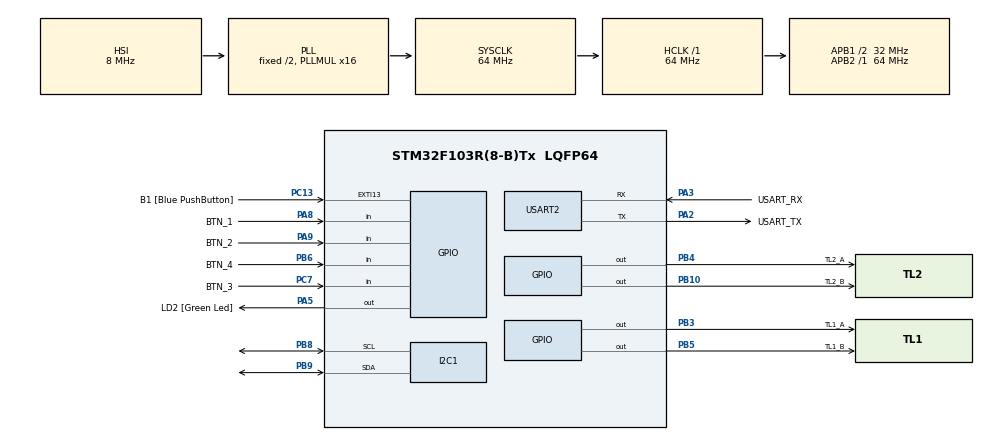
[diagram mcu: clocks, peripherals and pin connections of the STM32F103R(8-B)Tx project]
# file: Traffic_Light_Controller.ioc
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Mcu.Family=STM32F1
Mcu.Name=STM32F103R(8-B)Tx
Mcu.Package=LQFP64
NVIC.EXTI15_10_IRQn=true\:0\:0\:false\:false\:true\:true\:true\:true
NVIC.PriorityGroup=NVIC_PRIORITYGROUP_4
NVIC.TIM2_IRQn=true\:0\:0\:false\:false\:true\:true\:true\:true
PA13.GPIO_Label=TMS
PA13.Mode=Serial_Wire
PA13.Signal=SYS_JTMS-SWDIO
PA14.GPIO_Label=TCK
PA14.Mode=Serial_Wire
PA14.Signal=SYS_JTCK-SWCLK
PA2.GPIO_Label=USART_TX
PA2.GPIO_Mode=GPIO_MODE_AF_PP
PA2.GPIO_PuPd=GPIO_NOPULL
PA2.GPIO_Speed=GPIO_SPEED_FREQ_LOW
PA2.Mode=Asynchronous
PA2.Signal=USART2_TX
PA3.GPIO_Label=USART_RX
PA3.GPIO_Mode=GPIO_MODE_AF_PP
PA3.GPIO_PuPd=GPIO_NOPULL
PA3.GPIO_Speed=GPIO_SPEED_FREQ_LOW
PA3.Mode=Asynchronous
PA3.Signal=USART2_RX
PA5.GPIO_Label=LD2 [Green Led]
PA5.GPIO_ModeDefaultOutputPP=GPIO_MODE_OUTPUT_PP
PA5.GPIO_PuPd=GPIO_NOPULL
PA5.GPIO_Speed=GPIO_SPEED_FREQ_LOW
PA5.Signal=GPIO_Output
PA8.GPIO_Label=BTN_1
PA8.Signal=GPIO_Input
PA9.GPIO_Label=BTN_2
PA9.Signal=GPIO_Input
PB10.GPIO_Label=TL2_B
PB10.Signal=GPIO_Output
PB3.GPIO_Label=TL1_A
PB3.Signal=GPIO_Output
PB4.GPIO_Label=TL2_A
PB4.Signal=GPIO_Output
PB5.GPIO_Label=TL1_B
PB5.Signal=GPIO_Output
PB6.GPIO_Label=BTN_4
PB6.Signal=GPIO_Input
PB8.Mode=I2C
PB8.Signal=I2C1_SCL
PB9.Mode=I2C
PB9.Signal=I2C1_SDA
PC13-TAMPER-RTC.GPIO_Label=B1 [Blue PushButton]
PC13-TAMPER-RTC.GPIO_PuPd=GPIO_NOPULL
PC13-TAMPER-RTC.Signal=GPXTI13
PC14-OSC32_IN.Mode=LSE-External-Oscillator
PC14-OSC32_IN.Signal=RCC_OSC32_IN
PC15-OSC32_OUT.Mode=LSE-External-Oscillator
PC15-OSC32_OUT.Signal=RCC_OSC32_OUT
PC7.GPIO_Label=BTN_3
PC7.Signal=GPIO_Input
PD0-OSC_IN.Mode=HSE-External-Clock-Source
PD0-OSC_IN.Signal=RCC_OSC_IN
PD1-OSC_OUT.Mode=HSE-External-Clock-Source
PD1-OSC_OUT.Signal=RCC_OSC_OUT
ProjectManager.HeapSize=0x200
ProjectManager.StackSize=0x400
ProjectManager.TargetToolchain=CMake
RCC.AHBFreq_Value=64000000
RCC.APB1CLKDivider=RCC_HCLK_DIV2
RCC.APB1Freq_Value=32000000
RCC.APB1TimFreq_Value=64000000
RCC.APB2Freq_Value=64000000
RCC.APB2TimFreq_Value=64000000
RCC.HCLKFreq_Value=64000000
RCC.PLLMUL=RCC_PLL_MUL16
RCC.RTCClockSelection=RCC_RTCCLKSOURCE_LSE
RCC.SYSCLKFreq_VALUE=64000000
RCC.SYSCLKSource=RCC_SYSCLKSOURCE_PLLCLK
RCC.USBFreq_Value=64000000
TIM2.Period=99
TIM2.Prescaler=6399
USART2.VirtualMode=VM_ASYNC
VP_TIM2_VS_ClockSourceINT.Mode=Internal
board=NUCLEO-F103RB

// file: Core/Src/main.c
/* USER CODE BEGIN Header */
/**
  ******************************************************************************
  * @file           : main.c
  * @brief          : Main program body
  ******************************************************************************
  * @attention
  *
  * Copyright (c) 2026 STMicroelectronics.
  * All rights reserved.
  *
  * This software is licensed under terms that can be found in the LICENSE file
  * in the root directory of this software component.
  * If no LICENSE file comes with this software, it is provided AS-IS.
  *
  ******************************************************************************
  */
/* USER CODE END Header */
#include "main.h"

/* USER CODE BEGIN Includes */
#include "scheduler.h"
#include "software_timer.h"
#include "button.h"
#include "traffic_light.h"
#include "global.h"
#include "dht20.h"
#include "lcd.h"
#include "display.h"
#include "fsm_mode.h"
#include "fsm_automatic.h"
/* USER CODE END Includes */

I2C_HandleTypeDef hi2c1;

TIM_HandleTypeDef htim2;

UART_HandleTypeDef huart2;

void SystemClock_Config(void);
static void MX_GPIO_Init(void);
static void MX_I2C1_Init(void);
static void MX_TIM2_Init(void);
static void MX_USART2_UART_Init(void);

int main(void)
{

  /* MCU Configuration--------------------------------------------------------*/

  /* Reset of all peripherals, Initializes the Flash interface and the Systick. */
  HAL_Init();

  /* Configure the system clock */
  SystemClock_Config();

  /* Initialize all configured peripherals */
  MX_GPIO_Init();
  MX_I2C1_Init();
  MX_TIM2_Init();
  MX_USART2_UART_Init();

  /* USER CODE BEGIN 2 */
  // Private init
  SCH_Init();
  timer_init();
  button_init();
  fsm_automatic_init();

  SCH_Add_Task(timerRun, 1, 1);
  HAL_TIM_Base_Start_IT(&htim2);
  // khởi tạo các module (global trước fsm_mode, lcd trước fsm_mode)
  global_init();
  traffic_init();
  dht20_init(&hi2c1);
  lcd_init(&hi2c1);
  fsm_mode_init();

  // đăng ký task (tick 10 ms)
  SCH_Add_Task(button_run, 0, 1);        // quét và lọc nhiễu nút, mỗi 10 ms
  SCH_Add_Task(fsm_mode_run, 0, 1);      // chuyển chế độ + chạy máy trạng thái hiện tại, mỗi 10 ms
  SCH_Add_Task(dht20_update, 0, 10);     // đọc DHT20, mỗi 100 ms (tự đo mỗi 2 giây)
  SCH_Add_Task(display_run, 0, 100);     // cập nhật LCD, mỗi 1 giây
  /* USER CODE END 2 */

  /* Infinite loop */
  while (1)
  {

    /* USER CODE BEGIN 3 */
    SCH_Dispatch_Tasks();
  }
  /* USER CODE END 3 */
}

void SystemClock_Config(void)
{
  RCC_OscInitTypeDef RCC_OscInitStruct = {0};
  RCC_ClkInitTypeDef RCC_ClkInitStruct = {0};

  /** Initializes the RCC Oscillators according to the specified parameters
  * in the RCC_OscInitTypeDef structure.
  */
  RCC_OscInitStruct.OscillatorType = RCC_OSCILLATORTYPE_HSI;
  RCC_OscInitStruct.HSIState = RCC_HSI_ON;
  RCC_OscInitStruct.HSICalibrationValue = RCC_HSICALIBRATION_DEFAULT;
  RCC_OscInitStruct.PLL.PLLState = RCC_PLL_ON;
  RCC_OscInitStruct.PLL.PLLSource = RCC_PLLSOURCE_HSI_DIV2;
  RCC_OscInitStruct.PLL.PLLMUL = RCC_PLL_MUL16;
  if (HAL_RCC_OscConfig(&RCC_OscInitStruct) != HAL_OK)
  {
    Error_Handler();
  }

  /** Initializes the CPU, AHB and APB buses clocks
  */
  RCC_ClkInitStruct.ClockType = RCC_CLOCKTYPE_HCLK|RCC_CLOCKTYPE_SYSCLK
                              |RCC_CLOCKTYPE_PCLK1|RCC_CLOCKTYPE_PCLK2;
  RCC_ClkInitStruct.SYSCLKSource = RCC_SYSCLKSOURCE_PLLCLK;
  RCC_ClkInitStruct.AHBCLKDivider = RCC_SYSCLK_DIV1;
  RCC_ClkInitStruct.APB1CLKDivider = RCC_HCLK_DIV2;
  RCC_ClkInitStruct.APB2CLKDivider = RCC_HCLK_DIV1;

  if (HAL_RCC_ClockConfig(&RCC_ClkInitStruct, FLASH_LATENCY_2) != HAL_OK)
  {
    Error_Handler();
  }
}

static void MX_I2C1_Init(void)
{

  hi2c1.Instance = I2C1;
  hi2c1.Init.ClockSpeed = 100000;
  hi2c1.Init.DutyCycle = I2C_DUTYCYCLE_2;
  hi2c1.Init.OwnAddress1 = 0;
  hi2c1.Init.AddressingMode = I2C_ADDRESSINGMODE_7BIT;
  hi2c1.Init.DualAddressMode = I2C_DUALADDRESS_DISABLE;
  hi2c1.Init.OwnAddress2 = 0;
  hi2c1.Init.GeneralCallMode = I2C_GENERALCALL_DISABLE;
  hi2c1.Init.NoStretchMode = I2C_NOSTRETCH_DISABLE;
  if (HAL_I2C_Init(&hi2c1) != HAL_OK)
  {
    Error_Handler();
  }

}

static void MX_TIM2_Init(void)
{

  TIM_ClockConfigTypeDef sClockSourceConfig = {0};
  TIM_MasterConfigTypeDef sMasterConfig = {0};

  htim2.Instance = TIM2;
  htim2.Init.Prescaler = 6399;
  htim2.Init.CounterMode = TIM_COUNTERMODE_UP;
  htim2.Init.Period = 99;
  htim2.Init.ClockDivision = TIM_CLOCKDIVISION_DIV1;
  htim2.Init.AutoReloadPreload = TIM_AUTORELOAD_PRELOAD_DISABLE;
  if (HAL_TIM_Base_Init(&htim2) != HAL_OK)
  {
    Error_Handler();
  }
  sClockSourceConfig.ClockSource = TIM_CLOCKSOURCE_INTERNAL;
  if (HAL_TIM_ConfigClockSource(&htim2, &sClockSourceConfig) != HAL_OK)
  {
    Error_Handler();
  }
  sMasterConfig.MasterOutputTrigger = TIM_TRGO_RESET;
  sMasterConfig.MasterSlaveMode = TIM_MASTERSLAVEMODE_DISABLE;
  if (HAL_TIMEx_MasterConfigSynchronization(&htim2, &sMasterConfig) != HAL_OK)
  {
    Error_Handler();
  }

}

static void MX_USART2_UART_Init(void)
{

  huart2.Instance = USART2;
  huart2.Init.BaudRate = 115200;
  huart2.Init.WordLength = UART_WORDLENGTH_8B;
  huart2.Init.StopBits = UART_STOPBITS_1;
  huart2.Init.Parity = UART_PARITY_NONE;
  huart2.Init.Mode = UART_MODE_TX_RX;
  huart2.Init.HwFlowCtl = UART_HWCONTROL_NONE;
  huart2.Init.OverSampling = UART_OVERSAMPLING_16;
  if (HAL_UART_Init(&huart2) != HAL_OK)
  {
    Error_Handler();
  }

}

static void MX_GPIO_Init(void)
{
  GPIO_InitTypeDef GPIO_InitStruct = {0};

  /* GPIO Ports Clock Enable */
  __HAL_RCC_GPIOC_CLK_ENABLE();
  __HAL_RCC_GPIOD_CLK_ENABLE();
  __HAL_RCC_GPIOA_CLK_ENABLE();
  __HAL_RCC_GPIOB_CLK_ENABLE();

  /*Configure GPIO pin Output Level */
  HAL_GPIO_WritePin(LD2_GPIO_Port, LD2_Pin, GPIO_PIN_RESET);

  /*Configure GPIO pin Output Level */
  HAL_GPIO_WritePin(GPIOB, TL2_B_Pin|TL1_A_Pin|TL2_A_Pin|TL1_B_Pin, GPIO_PIN_RESET);

  /*Configure GPIO pin : B1_Pin */
  GPIO_InitStruct.Pin = B1_Pin;
  GPIO_InitStruct.Mode = GPIO_MODE_IT_RISING;
  GPIO_InitStruct.Pull = GPIO_NOPULL;
  HAL_GPIO_Init(B1_GPIO_Port, &GPIO_InitStruct);

  /*Configure GPIO pin : LD2_Pin */
  GPIO_InitStruct.Pin = LD2_Pin;
  GPIO_InitStruct.Mode = GPIO_MODE_OUTPUT_PP;
  GPIO_InitStruct.Pull = GPIO_NOPULL;
  GPIO_InitStruct.Speed = GPIO_SPEED_FREQ_LOW;
  HAL_GPIO_Init(LD2_GPIO_Port, &GPIO_InitStruct);

  /*Configure GPIO pins : TL2_B_Pin TL1_A_Pin TL2_A_Pin TL1_B_Pin */
  GPIO_InitStruct.Pin = TL2_B_Pin|TL1_A_Pin|TL2_A_Pin|TL1_B_Pin;
  GPIO_InitStruct.Mode = GPIO_MODE_OUTPUT_PP;
  GPIO_InitStruct.Pull = GPIO_NOPULL;
  GPIO_InitStruct.Speed = GPIO_SPEED_FREQ_LOW;
  HAL_GPIO_Init(GPIOB, &GPIO_InitStruct);

  /*Configure GPIO pin : BTN_3_Pin */
  GPIO_InitStruct.Pin = BTN_3_Pin;
  GPIO_InitStruct.Mode = GPIO_MODE_INPUT;
  GPIO_InitStruct.Pull = GPIO_NOPULL;
  HAL_GPIO_Init(BTN_3_GPIO_Port, &GPIO_InitStruct);

  /*Configure GPIO pins : BTN_1_Pin BTN_2_Pin */
  GPIO_InitStruct.Pin = BTN_1_Pin|BTN_2_Pin;
  GPIO_InitStruct.Mode = GPIO_MODE_INPUT;
  GPIO_InitStruct.Pull = GPIO_NOPULL;
  HAL_GPIO_Init(GPIOA, &GPIO_InitStruct);

  /*Configure GPIO pin : BTN_4_Pin */
  GPIO_InitStruct.Pin = BTN_4_Pin;
  GPIO_InitStruct.Mode = GPIO_MODE_INPUT;
  GPIO_InitStruct.Pull = GPIO_NOPULL;
  HAL_GPIO_Init(BTN_4_GPIO_Port, &GPIO_InitStruct);

  /* EXTI interrupt init*/
  HAL_NVIC_SetPriority(EXTI15_10_IRQn, 0, 0);
  HAL_NVIC_EnableIRQ(EXTI15_10_IRQn);

}

/* USER CODE BEGIN 4 */
void HAL_TIM_PeriodElapsedCallback(TIM_HandleTypeDef *htim)
{
    if (htim->Instance == TIM2) {
        SCH_Update();
    }
}
/* USER CODE END 4 */

void Error_Handler(void)
{
  __disable_irq();
  while (1)
  {
  }
}
